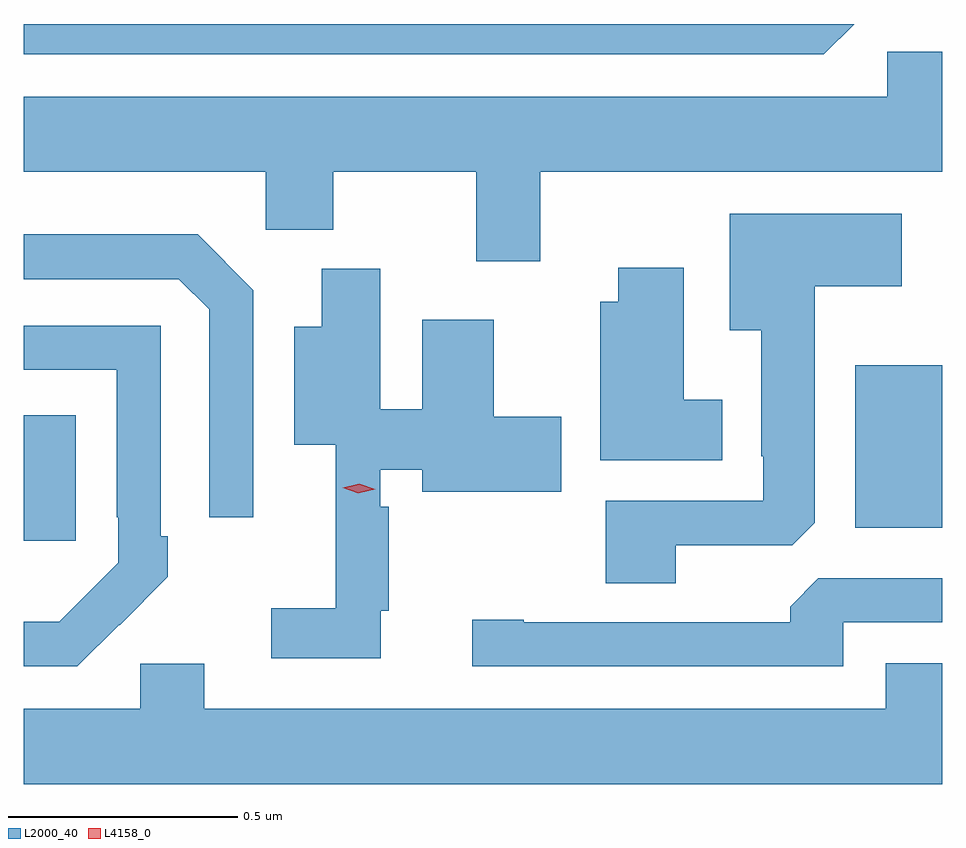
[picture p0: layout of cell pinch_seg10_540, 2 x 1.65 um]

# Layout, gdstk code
import gdstk
lib = gdstk.Library(unit=1e-6, precision=1e-09)
def R(c, l, rs):  # rectangles x0, y0, x1, y1
    for r in rs: c.add(gdstk.rectangle(r[:2], r[2:], *l))
def P(c, l, *ps):  # polygons
    for p in ps: c.add(gdstk.Polygon(p, *l))
L2000_40 = (2000, 40)
L4158_0 = (4158, 0)

pinch_seg10_540 = lib.new_cell('pinch_seg10_540')
R(pinch_seg10_540, L2000_40, [(245.965,1286.193,246.079,1286.467), (247.775,1286.222,247.965,1286.575)])
P(pinch_seg10_540, L2000_40, [(247.773,1287.318),(245.965,1287.318),(245.965,1287.252),(247.707,1287.252)],
  [(247.09,1286.996),(247.965,1286.996),(247.965,1287.258),(247.845,1287.258),(247.845,1287.16),(245.965,1287.16),(245.965,1286.996),(246.492,1286.996),(246.492,1286.87),(246.639,1286.87),(246.639,1286.996),(246.95,1286.996),(246.95,1286.802),(247.09,1286.802)],
  [(247.384,1286.184),(247.638,1286.184),(247.687,1286.233),(247.687,1286.747),(247.876,1286.747),(247.876,1286.905),(247.502,1286.905),(247.502,1286.651),(247.571,1286.651),(247.571,1286.377),(247.575,1286.377),(247.575,1286.28),(247.232,1286.28),(247.232,1286.101),(247.384,1286.101)],
  [(246.465,1286.739),(246.344,1286.86),(245.965,1286.86),(245.965,1286.763),(246.303,1286.763),(246.369,1286.697),(246.369,1286.244),(246.465,1286.244)],
  [(247.486,1286.5),(247.402,1286.5),(247.402,1286.788),(247.259,1286.788),(247.259,1286.713),(247.22,1286.713),(247.22,1286.369),(247.486,1286.369)],
  [(246.743,1286.041),(246.76,1286.041),(246.76,1286.267),(246.741,1286.267),(246.741,1286.348),(246.833,1286.348),(246.833,1286.3),(247.135,1286.3),(247.135,1286.463),(246.988,1286.463),(246.988,1286.674),(246.833,1286.674),(246.833,1286.48),(246.741,1286.48),(246.741,1286.785),(246.614,1286.785),(246.614,1286.659),(246.554,1286.659),(246.554,1286.402),(246.644,1286.402),(246.644,1286.047),(246.504,1286.047),(246.504,1285.938),(246.743,1285.938)],
  [(246.173,1286.011),(246.174,1286.01),(246.279,1286.115),(246.279,1286.203),(246.264,1286.203),(246.264,1286.661),(245.965,1286.661),(245.965,1286.565),(246.168,1286.565),(246.168,1286.245),(246.171,1286.245),(246.171,1286.145),(246.043,1286.017),(245.965,1286.017),(245.965,1285.92),(246.082,1285.92)],
  [(247.749,1286.016),(247.965,1286.016),(247.965,1286.112),(247.695,1286.112),(247.634,1286.05),(247.634,1286.016),(247.054,1286.016),(247.054,1286.021),(246.942,1286.021),(246.942,1285.92),(247.749,1285.92)],
  [(246.219,1285.926),(246.219,1285.828),(245.965,1285.828),(245.965,1285.664),(247.965,1285.664),(247.965,1285.927),(247.841,1285.927),(247.841,1285.828),(246.358,1285.828),(246.358,1285.926)])
P(pinch_seg10_540, L4158_0, [(246.694,1286.297),(246.66,1286.309),(246.66,1286.309),(246.66,1286.309),(246.696,1286.317),(246.73,1286.305),(246.73,1286.305),(246.73,1286.305)])

lib.write_gds('pinch_seg10_540.gds')
